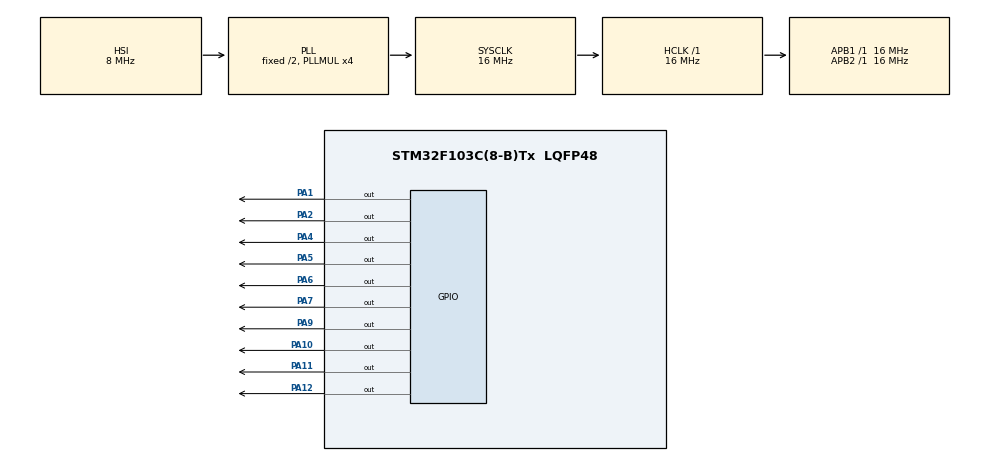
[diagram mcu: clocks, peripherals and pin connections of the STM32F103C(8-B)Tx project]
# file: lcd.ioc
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Mcu.Family=STM32F1
Mcu.Name=STM32F103C(8-B)Tx
Mcu.Package=LQFP48
NVIC.PriorityGroup=NVIC_PRIORITYGROUP_4
PA1.Signal=GPIO_Output
PA10.Signal=GPIO_Output
PA11.Signal=GPIO_Output
PA12.Signal=GPIO_Output
PA2.Signal=GPIO_Output
PA4.Signal=GPIO_Output
PA5.Signal=GPIO_Output
PA6.Signal=GPIO_Output
PA7.Signal=GPIO_Output
PA9.Signal=GPIO_Output
PD0-OSC_IN.Mode=HSE-External-Oscillator
PD0-OSC_IN.Signal=RCC_OSC_IN
PD1-OSC_OUT.Mode=HSE-External-Oscillator
PD1-OSC_OUT.Signal=RCC_OSC_OUT
ProjectManager.HeapSize=0x200
ProjectManager.StackSize=0x400
ProjectManager.TargetToolchain=STM32CubeIDE
RCC.AHBFreq_Value=16000000
RCC.APB1Freq_Value=16000000
RCC.APB1TimFreq_Value=16000000
RCC.APB2Freq_Value=16000000
RCC.APB2TimFreq_Value=16000000
RCC.HCLKFreq_Value=16000000
RCC.PLLMUL=RCC_PLL_MUL4
RCC.SYSCLKFreq_VALUE=16000000
RCC.SYSCLKSource=RCC_SYSCLKSOURCE_PLLCLK
RCC.USBFreq_Value=16000000
VP_SYS_VS_ND.Mode=No_Debug
board=custom

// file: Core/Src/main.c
/* USER CODE BEGIN Header */
/**
  ******************************************************************************
  * @file           : main.c
  * @brief          : Main program body
  ******************************************************************************
  * @attention
  *
  * <h2><center>&copy; Copyright (c) 2026 STMicroelectronics.
  * All rights reserved.</center></h2>
  *
  * This software component is licensed by ST under BSD 3-Clause license,
  * the "License"; You may not use this file except in compliance with the
  * License. You may obtain a copy of the License at:
  *                        opensource.org/licenses/BSD-3-Clause
  *
  ******************************************************************************
  */
/* USER CODE END Header */

#include "main.h"

void SystemClock_Config(void);
static void MX_GPIO_Init(void);
/* USER CODE BEGIN PFP */

void LCD_Init(void);
void LCD(uint8_t val, uint8_t cmd);

/* USER CODE END PFP */

int main(void)
{

  /* MCU Configuration--------------------------------------------------------*/

  /* Reset of all peripherals, Initializes the Flash interface and the Systick. */
  HAL_Init();

  /* USER CODE BEGIN Init */

  uint8_t str[] = "STM32 TUTORIALS";

  uint8_t str1[] = "8-BIT MODE LCD";

  /* USER CODE END Init */

  /* Configure the system clock */
  SystemClock_Config();

  /* Initialize all configured peripherals */
  MX_GPIO_Init();
  /* USER CODE BEGIN 2 */

  LCD_Init();
  LCD(0x80, 0);				// Force cursor to beginning (1st line)

  LCD(0x80, 0);
  for(uint8_t i=0; i<15;i++)
  {
	  LCD(str[i],1);
  }

  LCD(0xC0, 0);
  for(uint8_t j=0; j<15;j++)
  {
	  LCD(str1[j],1);
  }

  /* USER CODE END 2 */

  /* Infinite loop */
  while (1)
  {

  }
}

void SystemClock_Config(void)
{
  RCC_OscInitTypeDef RCC_OscInitStruct = {0};
  RCC_ClkInitTypeDef RCC_ClkInitStruct = {0};

  /** Initializes the CPU, AHB and APB busses clocks
  */
  RCC_OscInitStruct.OscillatorType = RCC_OSCILLATORTYPE_HSI;
  RCC_OscInitStruct.HSIState = RCC_HSI_ON;
  RCC_OscInitStruct.HSICalibrationValue = RCC_HSICALIBRATION_DEFAULT;
  RCC_OscInitStruct.PLL.PLLState = RCC_PLL_ON;
  RCC_OscInitStruct.PLL.PLLSource = RCC_PLLSOURCE_HSI_DIV2;
  RCC_OscInitStruct.PLL.PLLMUL = RCC_PLL_MUL4;
  if (HAL_RCC_OscConfig(&RCC_OscInitStruct) != HAL_OK)
  {
    Error_Handler();
  }
  /** Initializes the CPU, AHB and APB busses clocks
  */
  RCC_ClkInitStruct.ClockType = RCC_CLOCKTYPE_HCLK|RCC_CLOCKTYPE_SYSCLK
                              |RCC_CLOCKTYPE_PCLK1|RCC_CLOCKTYPE_PCLK2;
  RCC_ClkInitStruct.SYSCLKSource = RCC_SYSCLKSOURCE_PLLCLK;
  RCC_ClkInitStruct.AHBCLKDivider = RCC_SYSCLK_DIV1;
  RCC_ClkInitStruct.APB1CLKDivider = RCC_HCLK_DIV1;
  RCC_ClkInitStruct.APB2CLKDivider = RCC_HCLK_DIV1;

  if (HAL_RCC_ClockConfig(&RCC_ClkInitStruct, FLASH_LATENCY_0) != HAL_OK)
  {
    Error_Handler();
  }
}

static void MX_GPIO_Init(void)
{
  GPIO_InitTypeDef GPIO_InitStruct = {0};

  /* GPIO Ports Clock Enable */
  __HAL_RCC_GPIOD_CLK_ENABLE();
  __HAL_RCC_GPIOA_CLK_ENABLE();

  /*Configure GPIO pin Output Level */
  HAL_GPIO_WritePin(GPIOA, GPIO_PIN_1|GPIO_PIN_2|GPIO_PIN_4|GPIO_PIN_5
                          |GPIO_PIN_6|GPIO_PIN_7|GPIO_PIN_9|GPIO_PIN_10
                          |GPIO_PIN_11|GPIO_PIN_12, GPIO_PIN_RESET);

  /*Configure GPIO pins : PA1 PA2 PA4 PA5
                           PA6 PA7 PA9 PA10
                           PA11 PA12 */
  GPIO_InitStruct.Pin = GPIO_PIN_1|GPIO_PIN_2|GPIO_PIN_4|GPIO_PIN_5
                          |GPIO_PIN_6|GPIO_PIN_7|GPIO_PIN_9|GPIO_PIN_10
                          |GPIO_PIN_11|GPIO_PIN_12;
  GPIO_InitStruct.Mode = GPIO_MODE_OUTPUT_PP;
  GPIO_InitStruct.Pull = GPIO_NOPULL;
  GPIO_InitStruct.Speed = GPIO_SPEED_FREQ_LOW;
  HAL_GPIO_Init(GPIOA, &GPIO_InitStruct);

}

/* USER CODE BEGIN 4 */

void LCD_Init(void)
{
	LCD(0x38, 0);				// 2 Lines, 5*7 matrix, 4 bit mode
	LCD(0x0E, 0);				// Display On, Cursor blinking
	LCD(0x06, 0);				// Increment cursor (shift cursor to right)
	LCD(0x01, 0);				// Clear display screen
	LCD(0x80, 0);				// Force cursor to beginning (1st line)
}

void LCD(uint8_t val, uint8_t cmd)
{
	uint8_t data;

	HAL_GPIO_WritePin(GPIOA, GPIO_PIN_1, cmd);			// set RS cmd : (cmd=0) => Command; (cmd=1) => Data;

	data = val & 0x01;									// mask bit and assign it GPIO0
	HAL_GPIO_WritePin(GPIOA, GPIO_PIN_4, data);

	data = (val>>1) & 0x01;								// mask bit and assign it GPIO1
	HAL_GPIO_WritePin(GPIOA, GPIO_PIN_5, data);

	data = (val>>2) & 0x01;								// mask bit and assign it GPIO2
	HAL_GPIO_WritePin(GPIOA, GPIO_PIN_6, data);

	data = (val>>3) & 0x01;								// mask bit and assign it GPIO3
	HAL_GPIO_WritePin(GPIOA, GPIO_PIN_7, data);

	data = (val>>4) & 0x01;								// mask bit and assign it GPIO4
	HAL_GPIO_WritePin(GPIOA, GPIO_PIN_9, data);

	data = (val>>5) & 0x01;								// mask bit and assign it GPIO5
	HAL_GPIO_WritePin(GPIOA, GPIO_PIN_10, data);

	data = (val>>6) & 0x01;								// mask bit and assign it GPIO6
	HAL_GPIO_WritePin(GPIOA, GPIO_PIN_11, data);

	data = (val>>7) & 0x01;								// mask bit and assign it GPIO7
	HAL_GPIO_WritePin(GPIOA, GPIO_PIN_12, data);

	/* ------ Enable Pulse ------ */
	HAL_GPIO_WritePin(GPIOA, GPIO_PIN_2, SET);
	HAL_Delay(1);

	HAL_GPIO_WritePin(GPIOA, GPIO_PIN_2, RESET);
	HAL_Delay(5);

}

/*void LCD_String(char *str)
{
    while(*str)
    {
        LCD_Data(*str++);
    }
}*/

/* USER CODE END 4 */

void Error_Handler(void)
{
}

/************************ (C) COPYRIGHT STMicroelectronics *****END OF FILE****/
